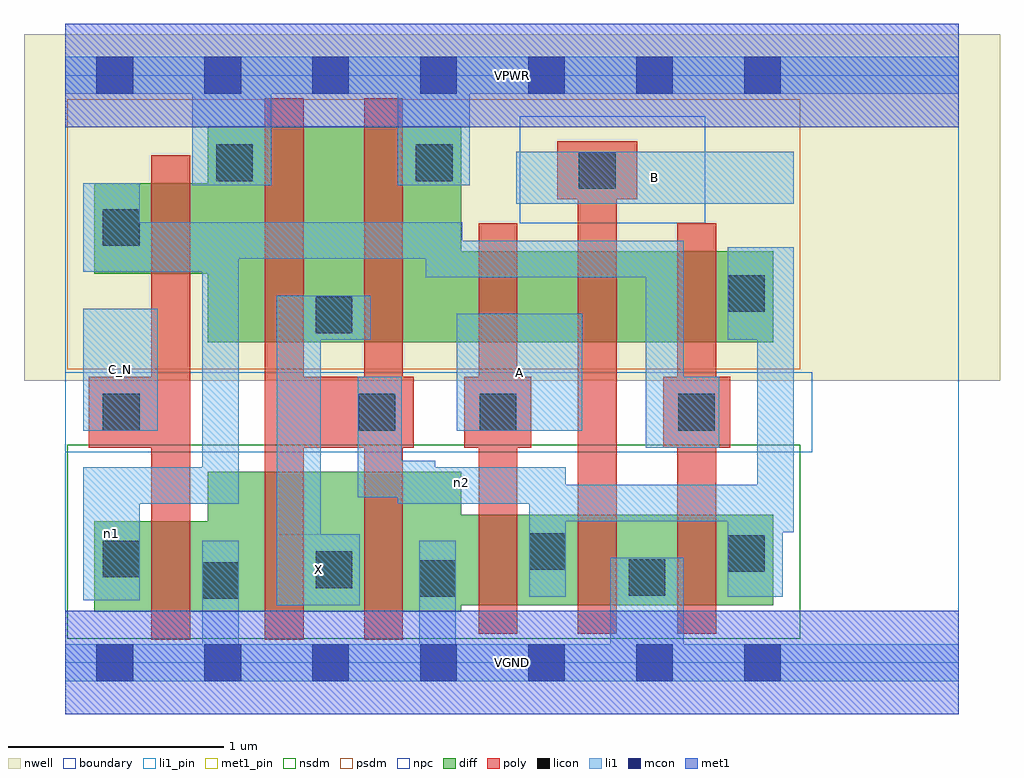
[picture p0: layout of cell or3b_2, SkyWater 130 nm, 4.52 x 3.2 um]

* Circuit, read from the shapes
.subckt or3b_2 A B C_N VGND VPWR X n1 n2
XM1 VGND C_N n1 VSUBS sky130_fd_pr__nfet_01v8 w=0.42 l=0.18
XM2 X n2 VGND VSUBS sky130_fd_pr__nfet_01v8 w=0.65 l=0.18 m=2
XM3 n2 A VGND VSUBS sky130_fd_pr__nfet_01v8 w=0.42 l=0.18
XM4 VGND B n2 VSUBS sky130_fd_pr__nfet_01v8 w=0.42 l=0.18
XM5 n2 n1 VGND VSUBS sky130_fd_pr__nfet_01v8 w=0.42 l=0.18
XM6 VPWR C_N n1 n3 sky130_fd_pr__pfet_01v8 w=0.42 l=0.18
XM7 X n2 VPWR n3 sky130_fd_pr__pfet_01v8 w=1 l=0.18 m=2
XM8 n4 A VPWR n3 sky130_fd_pr__pfet_01v8 w=0.42 l=0.18
XM9 n5 B n4 n3 sky130_fd_pr__pfet_01v8 w=0.42 l=0.18
XM10 n2 n1 n5 n3 sky130_fd_pr__pfet_01v8 w=0.42 l=0.18
.ends

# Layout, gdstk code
import gdstk
lib = gdstk.Library(unit=1e-6, precision=1e-09)
def R(c, l, rs):  # rectangles x0, y0, x1, y1
    for r in rs: c.add(gdstk.rectangle(r[:2], r[2:], *l))
def A(c, l, x, y, w, h, nx, ny, dx, dy):  # array of equal rectangles
    R(c, l, [(x+i*dx, y+j*dy, x+i*dx+w, y+j*dy+h) for i in range(nx) for j in range(ny)])
nwell = (64, 20)
diff = (65, 20)
poly = (66, 20)
licon = (66, 44)
li1_pin = (67, 16)
li1 = (67, 20)
mcon = (67, 44)
met1_pin = (68, 16)
met1 = (68, 20)
nsdm = (93, 44)
psdm = (94, 20)
npc = (95, 20)
boundary = (235, 4)

or3b_2 = lib.new_cell('or3b_2')
R(or3b_2, nwell, [(-0.19,1.305,4.33,2.91), (0,1.305,4.14,2.91)])
R(or3b_2, diff, [(0.135,0.235,1.835,0.655), (0.66,0.235,1.835,0.885), (0.135,0.265,3.28,0.655), (0.66,0.265,3.28,0.685), (0.66,1.485,3.28,1.905), (0.66,1.485,1.835,2.485), (0.135,1.8,1.835,2.22)])
R(or3b_2, poly, [(0.4,0.105,0.58,2.35), (0.925,0.105,1.105,2.615), (1.385,0.105,1.565,2.615), (1.915,0.135,2.095,2.035), (2.375,0.135,2.555,2.415), (2.835,0.135,3.015,2.035), (0.11,0.995,0.58,1.325), (0.925,0.995,1.615,1.325), (1.85,0.995,2.16,1.325), (2.77,0.995,3.08,1.325), (2.28,2.145,2.65,2.415)])
R(or3b_2, licon, [(0.635,0.295,0.805,0.465), (1.64,0.305,1.81,0.475), (2.61,0.31,2.78,0.48), (1.16,0.345,1.33,0.515), (0.175,0.395,0.345,0.565), (3.07,0.42,3.24,0.59), (2.15,0.43,2.32,0.6), (0.175,1.075,0.345,1.245), (1.36,1.075,1.53,1.245), (1.92,1.075,2.09,1.245), (2.84,1.075,3.01,1.245), (1.16,1.525,1.33,1.695), (3.07,1.625,3.24,1.795), (0.175,1.93,0.345,2.1), (2.38,2.195,2.55,2.365), (0.7,2.23,0.87,2.4), (1.625,2.23,1.795,2.4)])
R(or3b_2, li1_pin, [(0.98,0.265,1.365,0.595), (0.085,1.075,0.43,1.64), (1.815,1.075,2.395,1.615), (2.09,2.125,3.375,2.365)])
R(or3b_2, li1, [(0,-0.085,4.14,0.085), (0.635,-0.085,0.805,0.565), (1.64,-0.085,1.81,0.565), (2.525,-0.085,2.865,0.485), (0.98,0.265,1.185,1.7), (0.98,0.265,1.365,0.595), (0.085,0.29,0.345,0.905), (2.15,0.305,2.32,0.905), (3.07,0.305,3.325,0.825), (3.205,0.605,3.375,1.925), (2.15,0.655,3.375,0.825), (0.085,0.735,0.805,0.905), (0.635,0.735,0.805,2.04), (1.54,0.735,3.205,0.825), (1.355,0.765,2.32,0.905), (1.355,0.765,1.56,1.325), (1.355,0.765,1.715,0.935), (2.69,0.995,2.865,1.955), (2.69,0.995,3.03,1.325), (0.085,1.075,0.43,1.64), (1.815,1.075,2.395,1.615), (0.98,1.495,1.415,1.7), (3.07,1.495,3.375,1.925), (1.67,1.785,2.865,1.955), (0.085,1.81,0.345,2.22), (0.085,1.81,0.805,2.04), (0.085,1.87,1.84,2.04), (2.09,2.125,3.375,2.365), (0.59,2.21,0.955,2.805), (1.54,2.21,1.875,2.805), (0,2.635,4.14,2.805)])
A(or3b_2, mcon, 0.145, -0.085, 0.17, 0.17, 7, 2, 0.5, 2.72)
R(or3b_2, met1_pin, [(0,-0.24,4.14,0.24), (0,2.48,4.14,2.96)])
R(or3b_2, met1, [(0,-0.24,4.14,0.24), (0,2.48,4.14,2.96)])
R(or3b_2, nsdm, [(0.01,0.11,3.405,1.01)])
R(or3b_2, psdm, [(0.01,1.36,3.405,2.61)])
R(or3b_2, npc, [(0,0.975,3.46,1.345), (2.105,2.035,2.965,2.53)])
R(or3b_2, boundary, [(0,0,4.14,2.72)])
or3b_2.add(gdstk.Label('A', (2.105,1.345), layer=67, texttype=5))
or3b_2.add(gdstk.Label('B', (2.732,2.245), layer=67, texttype=5))
or3b_2.add(gdstk.Label('C_N', (0.257,1.357), layer=67, texttype=5))
or3b_2.add(gdstk.Label('X', (1.172,0.43), layer=67, texttype=5))
or3b_2.add(gdstk.Label('n2', (1.837,0.835), layer=67, texttype=5))
or3b_2.add(gdstk.Label('n1', (0.215,0.597), layer=67, texttype=5))
or3b_2.add(gdstk.Label('VPWR', (2.07,2.72), layer=68, texttype=5))
or3b_2.add(gdstk.Label('VGND', (2.07,0), layer=68, texttype=5))
or3b_2.add(gdstk.Label('A', (2.105,1.345), layer=67, texttype=16))
or3b_2.add(gdstk.Label('B', (2.732,2.245), layer=67, texttype=16))
or3b_2.add(gdstk.Label('C_N', (0.257,1.357), layer=67, texttype=16))
or3b_2.add(gdstk.Label('X', (1.172,0.43), layer=67, texttype=16))
or3b_2.add(gdstk.Label('VPWR', (2.07,2.72), layer=68, texttype=16))
or3b_2.add(gdstk.Label('VGND', (2.07,0), layer=68, texttype=16))

lib.write_gds('or3b_2.gds')
